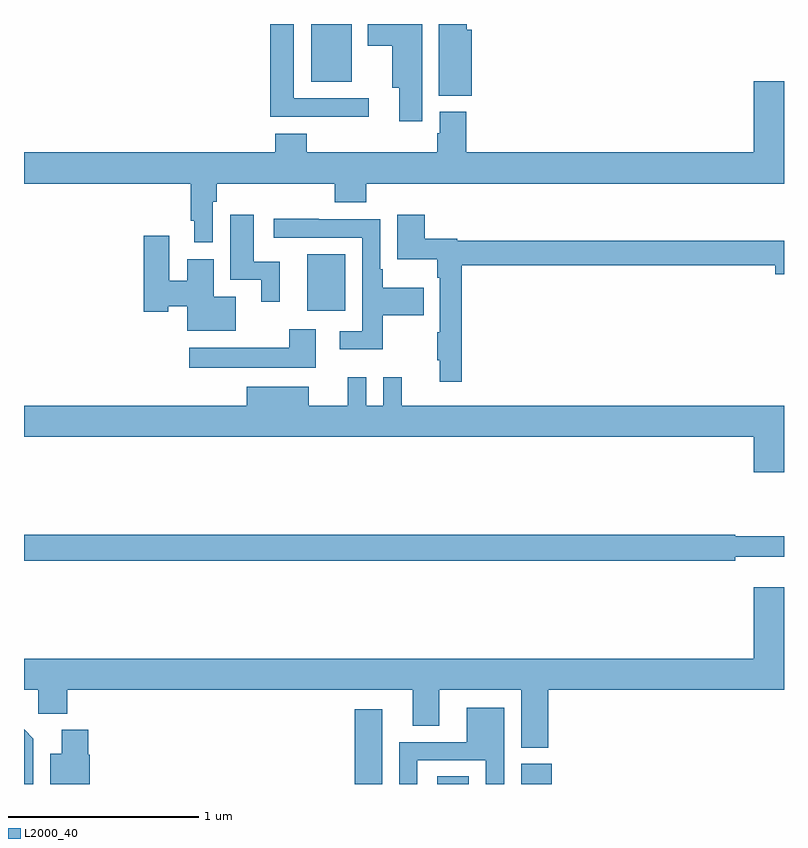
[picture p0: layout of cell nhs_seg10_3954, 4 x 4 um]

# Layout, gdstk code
import gdstk
lib = gdstk.Library(unit=1e-6, precision=1e-09)
def R(c, l, rs):  # rectangles x0, y0, x1, y1
    for r in rs: c.add(gdstk.rectangle(r[:2], r[2:], *l))
def P(c, l, *ps):  # polygons
    for p in ps: c.add(gdstk.Polygon(p, *l))
L2000_40 = (2000, 40)

nhs_seg10_3954 = lib.new_cell('nhs_seg10_3954')
R(nhs_seg10_3954, L2000_40, [(330.74,1286.5,330.886,1286.893), (331.175,1286.5,331.342,1286.54), (331.616,1286.5,331.778,1286.607), (330.491,1288.991,330.691,1289.287), (330.512,1290.197,330.724,1290.5)])
P(nhs_seg10_3954, L2000_40, [(331.096,1290.5),(330.809,1290.5),(330.809,1290.386),(330.938,1290.386),(330.938,1290.164),(330.974,1290.164),(330.974,1289.988),(331.096,1289.988)],
  [(330.814,1290.108),(330.421,1290.108),(330.421,1290.5),(330.296,1290.5),(330.296,1290.011),(330.814,1290.011)],
  [(331.357,1290.469),(331.331,1290.469),(331.331,1290.5),(331.184,1290.5),(331.184,1290.122),(331.357,1290.122)],
  [(329.994,1289.564),(330.014,1289.564),(330.014,1289.66),(330.635,1289.66),(330.635,1289.561),(330.8,1289.561),(330.8,1289.66),(333,1289.66),(333,1290.199),(332.84,1290.199),(332.84,1289.824),(331.328,1289.824),(331.328,1290.037),(331.187,1290.037),(331.187,1289.925),(331.175,1289.925),(331.175,1289.824),(330.488,1289.824),(330.488,1289.923),(330.323,1289.923),(330.323,1289.824),(329,1289.824),(329,1289.66),(329.878,1289.66),(329.878,1289.464),(329.897,1289.464),(329.897,1289.352),(329.994,1289.352)],
  [(331.304,1289.23),(332.954,1289.23),(332.954,1289.183),(333,1289.183),(333,1289.359),(331.281,1289.359),(331.281,1289.371),(331.109,1289.371),(331.109,1289.497),(330.965,1289.497),(330.965,1289.261),(331.176,1289.261),(331.176,1289.165),(331.188,1289.165),(331.188,1288.877),(331.176,1288.877),(331.176,1288.729),(331.187,1288.729),(331.187,1288.617),(331.304,1288.617)],
  [(330.346,1289.25),(330.208,1289.25),(330.208,1289.497),(330.086,1289.497),(330.086,1289.154),(330.248,1289.154),(330.248,1289.037),(330.346,1289.037)],
  [(330.889,1288.966),(331.103,1288.966),(331.103,1289.113),(330.889,1289.113),(330.889,1289.209),(330.876,1289.209),(330.876,1289.472),(330.551,1289.472),(330.551,1289.474),(330.315,1289.474),(330.315,1289.376),(330.78,1289.376),(330.78,1288.884),(330.663,1288.884),(330.663,1288.787),(330.889,1288.787)],
  [(330.115,1289.065),(329.998,1289.065),(329.998,1289.263),(329.858,1289.263),(329.858,1289.15),(329.764,1289.15),(329.764,1289.386),(329.63,1289.386),(329.63,1288.985),(329.76,1288.985),(329.76,1289.015),(329.858,1289.015),(329.858,1288.886),(330.115,1288.886)],
  [(330.535,1288.894),(330.395,1288.894),(330.395,1288.795),(329.871,1288.795),(329.871,1288.691),(330.535,1288.691)],
  [(333,1288.492),(330.989,1288.492),(330.989,1288.642),(330.891,1288.642),(330.891,1288.492),(330.801,1288.492),(330.801,1288.642),(330.704,1288.642),(330.704,1288.492),(330.499,1288.492),(330.499,1288.591),(330.173,1288.591),(330.173,1288.492),(329,1288.492),(329,1288.328),(332.84,1288.328),(332.84,1288.14),(333,1288.14)],
  [(332.744,1287.695),(333,1287.695),(333,1287.805),(332.743,1287.805),(332.743,1287.812),(329,1287.812),(329,1287.676),(332.744,1287.676)],
  [(329,1286.996),(329.076,1286.996),(329.076,1286.87),(329.228,1286.87),(329.228,1286.996),(331.046,1286.996),(331.046,1286.806),(331.186,1286.806),(331.186,1286.996),(331.616,1286.996),(331.616,1286.692),(331.76,1286.692),(331.76,1286.996),(333,1286.996),(333,1287.535),(332.84,1287.535),(332.84,1287.16),(329,1287.16)],
  [(331.071,1286.625),(331.431,1286.625),(331.431,1286.5),(331.527,1286.5),(331.527,1286.902),(331.331,1286.902),(331.331,1286.721),(330.975,1286.721),(330.975,1286.5),(331.071,1286.5)],
  [(329.049,1286.739),(329,1286.788),(329,1286.5),(329.049,1286.5)],
  [(329.345,1286.655),(329.339,1286.655),(329.339,1286.785),(329.198,1286.785),(329.198,1286.659),(329.138,1286.659),(329.138,1286.5),(329.345,1286.5)])

lib.write_gds('nhs_seg10_3954.gds')
